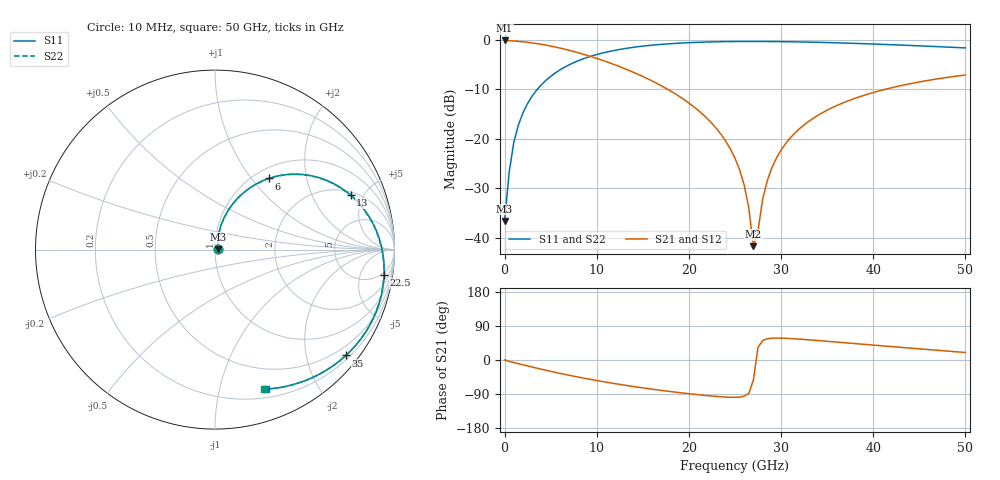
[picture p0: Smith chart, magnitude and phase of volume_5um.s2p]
#  GHZ S DB R 50.0
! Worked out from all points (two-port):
!   102 points, 10 MHz to 50 GHz, reference 50 ohm
!   highest |S21| = -0.13 dB at 10 MHz (marker M1); lowest = -41.6 dB at 27 GHz (marker M2)
!   |S21| within 3 dB of the highest: start of sweep to 8.952 GHz
!   lowest |S11| = -36.5 dB at 10 MHz (marker M3), VSWR 1.03, Z = 51.5 + j0.0875 ohm
!   |S11| at or under -10 dB: start of sweep to 3.556 GHz
!   |S22| runs from -36.5 to -0.3 dB; largest |S21 - S12| = 7.1e-14
!   S11 on the Smith chart (normalised r, x): 10 MHz: 1.03, +0.00; 6 GHz: 1.16, +1.22; 13 GHz: 2.21, +3.99; 22.5 GHz: 4, -12; 35 GHz: 0.29, -2.80; 50 GHz: 0.28, -1.39
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0.01  -36.53 3.3  -0.13 -0.1  -0.13 -0.1  -36.53 3.3
0.5  -26.80 71.1  -0.17 -3.5  -0.17 -3.5  -26.80 71.0
1  -20.75 76.9  -0.24 -6.6  -0.24 -6.6  -20.76 76.9
1.5  -17.20 76.2  -0.32 -9.7  -0.32 -9.7  -17.20 76.2
3.5  -10.12 66.3  -0.76 -21.5  -0.76 -21.5  -10.12 66.2
6  -6.08 53.0  -1.66 -35.2  -1.66 -35.2  -6.09 52.9
8.5  -3.86 40.8  -2.88 -47.5  -2.88 -47.5  -3.87 40.7
13  -1.79 22.0  -5.79 -66.3  -5.79 -66.3  -1.79 21.8
17  -0.92 7.9  -9.26 -80.1  -9.26 -80.1  -0.93 7.7
22.5  -0.42 -8.5  -16.86 -95.1  -16.86 -95.1  -0.43 -8.8
24  -0.37 -12.6  -20.45 -97.8  -20.45 -97.8  -0.38 -12.9
25.5  -0.34 -16.5  -26.21 -97.8  -26.21 -97.8  -0.35 -16.8
26.5  -0.33 -19.1  -33.91 -88.5  -33.91 -88.5  -0.34 -19.4
27  -0.33 -20.3  -41.64 -53.1  -41.64 -53.1  -0.34 -20.7
27.5  -0.33 -21.6  -38.54 33.1  -38.54 33.1  -0.34 -21.9
28  -0.34 -22.8  -32.22 51.3  -32.22 51.3  -0.35 -23.1
29  -0.35 -25.2  -25.84 57.5  -25.84 57.5  -0.36 -25.6
31  -0.40 -29.9  -19.80 56.6  -19.80 56.6  -0.41 -30.3
33.5  -0.49 -35.6  -15.83 52.3  -15.83 52.3  -0.50 -36.1
35  -0.56 -39.0  -14.20 49.4  -14.20 49.4  -0.57 -39.4
42  -0.99 -53.8  -9.67 35.4  -9.67 35.4  -1.01 -54.4
50  -1.64 -69.8  -7.10 19.8  -7.10 19.8  -1.66 -70.6
